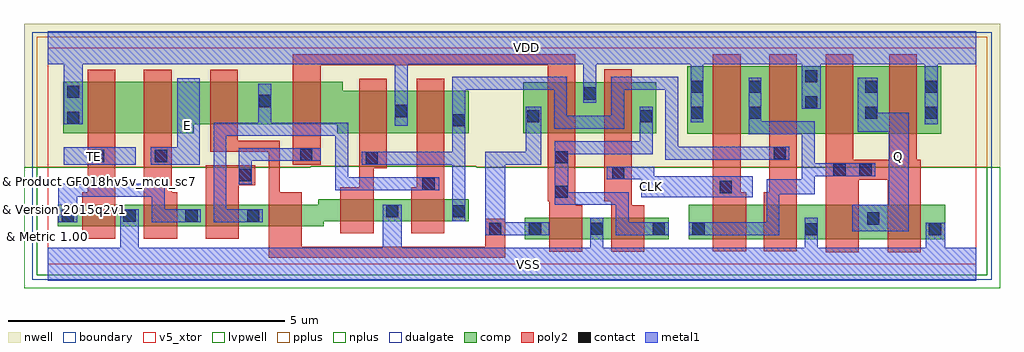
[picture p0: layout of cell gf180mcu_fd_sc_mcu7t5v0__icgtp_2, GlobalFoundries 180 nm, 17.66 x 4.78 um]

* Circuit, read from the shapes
.subckt gf180mcu_fd_sc_mcu7t5v0__icgtp_2 CLK E Q TE VDD VSS
XM1 VSS TE n1 VSUBS nfet_05v0 w=0.395u l=0.6u
XM2 n1 E VSS VSUBS nfet_05v0 w=0.395u l=0.6u
XM3 n2 n3 n1 VSUBS nfet_05v0 w=0.395u l=0.6u
XM4 n4 n5 n2 VSUBS nfet_05v0 w=0.395u l=0.6u
XM5 VSS n6 n4 VSUBS nfet_05v0 w=0.395u l=0.6u
XM6 n6 n2 VSS VSUBS nfet_05v0 w=0.395u l=0.6u
XM7 VSS n3 n5 VSUBS nfet_05v0 w=0.39u l=0.6u
XM8 n3 CLK VSS VSUBS nfet_05v0 w=0.39u l=0.6u
XM9 n7 CLK n8 VSUBS nfet_05v0 w=0.625u l=0.6u
XM10 VSS n6 n7 VSUBS nfet_05v0 w=0.625u l=0.6u
XM11 Q n8 VSS VSUBS nfet_05v0 w=0.625u l=0.6u m=2
XM12 n9 TE VDD n10 pfet_05v0 w=0.925u l=0.5u
XM13 n11 E n9 n10 pfet_05v0 w=0.925u l=0.5u
XM14 n2 n5 n11 n10 pfet_05v0 w=0.765u l=0.5u
XM15 n12 n3 n2 n10 pfet_05v0 w=0.765u l=0.5u
XM16 VDD n6 n12 n10 pfet_05v0 w=0.765u l=0.5u
XM17 n6 n2 VDD n10 pfet_05v0 w=0.765u l=0.5u
XM18 VDD n3 n5 n10 pfet_05v0 w=0.92u l=0.5u
XM19 n3 CLK VDD n10 pfet_05v0 w=0.92u l=0.5u
XM20 n8 CLK VDD n10 pfet_05v0 w=1.22u l=0.5u
XM21 VDD n6 n8 n10 pfet_05v0 w=1.22u l=0.5u
XM22 Q n8 VDD n10 pfet_05v0 w=1.22u l=0.5u m=2
.ends

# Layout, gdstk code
import gdstk
lib = gdstk.Library(unit=1e-6, precision=1e-09)
def R(c, l, rs):  # rectangles x0, y0, x1, y1
    for r in rs: c.add(gdstk.rectangle(r[:2], r[2:], *l))
def A(c, l, x, y, w, h, nx, ny, dx, dy):  # array of equal rectangles
    R(c, l, [(x+i*dx, y+j*dy, x+i*dx+w, y+j*dy+h) for i in range(nx) for j in range(ny)])
def P(c, l, *ps):  # polygons
    for p in ps: c.add(gdstk.Polygon(p, *l))
boundary = (0, 0)
nwell = (21, 0)
comp = (22, 0)
poly2 = (30, 0)
pplus = (31, 0)
nplus = (32, 0)
contact = (33, 0)
metal1 = (34, 0)
dualgate = (55, 0)
v5_xtor = (112, 1)
lvpwell = (204, 0)

gf180mcu_fd_sc_mcu7t5v0_ = lib.new_cell('gf180mcu_fd_sc_mcu7t5v0__icgtp_2')
R(gf180mcu_fd_sc_mcu7t5v0_, boundary, [(0,0,16.8,3.92)])
P(gf180mcu_fd_sc_mcu7t5v0_, nwell, [(-0.43,1.76),(-0.43,4.35),(17.23,4.35),(17.23,1.76),(7.75,1.76),(7.75,1.775),(4.76,1.775),(4.76,1.76)])
R(gf180mcu_fd_sc_mcu7t5v0_, comp, [(8.635,0.455,11.235,0.845), (11.595,0.455,16.235,1.08), (11.57,2.36,16.165,3.58), (8.605,2.375,11.01,3.295)])
P(gf180mcu_fd_sc_mcu7t5v0_, comp, [(0.18,0.685),(0.18,1.08),(4.895,1.08),(4.895,1.175),(7.615,1.175),(7.615,0.78),(4.995,0.78),(4.995,0.685)],
  [(0.28,2.375),(0.28,3.3),(5.335,3.3),(5.335,3.14),(7.615,3.14),(7.615,2.375),(5.235,2.375),(5.235,2.535),(2.64,2.535),(2.64,2.375)])
P(gf180mcu_fd_sc_mcu7t5v0_, poly2, [(0.62,0.46),(0.62,1.3),(0.72,1.3),(0.72,3.52),(1.22,3.52),(1.22,0.46)],
  [(1.74,0.46),(1.74,3.52),(2.24,3.52),(2.24,1.3),(2.34,1.3),(2.34,0.46)],
  [(2.86,0.465),(2.86,1.795),(3.755,1.795),(3.755,1.435),(3.46,1.435),(3.46,0.465)],
  [(5.295,0.56),(5.295,1.395),(5.635,1.395),(5.635,3.36),(6.135,3.36),(6.135,1.74),(5.895,1.74),(5.895,0.56)],
  [(6.575,0.56),(6.575,1.395),(6.675,1.395),(6.675,3.36),(7.175,3.36),(7.175,0.56)],
  [(3.995,0.12),(3.995,2.035),(2.94,2.035),(2.94,3.52),(3.44,3.52),(3.44,2.235),(4.195,2.235),(4.195,1.3),(4.595,1.3),(4.595,0.32),(7.915,0.32),(7.915,0.825),(8.275,0.825),(8.275,0.12)],
  [(9.075,0.23),(9.075,1.145),(9.045,1.145),(9.045,3.6),(4.935,3.6),(4.935,1.805),(4.435,1.805),(4.435,3.8),(9.545,3.8),(9.545,1.07),(9.675,1.07),(9.675,0.23)],
  [(10.195,0.23),(10.195,1.145),(10.07,1.145),(10.07,3.53),(10.57,3.53),(10.57,1.07),(10.795,1.07),(10.795,0.23)],
  [(12.035,0.235),(12.035,3.8),(12.535,3.8),(12.535,1.3),(12.635,1.3),(12.635,0.235)],
  [(12.955,0.235),(12.955,1.3),(13.055,1.3),(13.055,3.8),(13.555,3.8),(13.555,0.235)],
  [(14.075,0.22),(14.075,3.8),(14.575,3.8),(14.575,1.89),(15.225,1.89),(15.225,3.8),(15.725,3.8),(15.725,1.89),(15.795,1.89),(15.795,0.22),(15.195,0.22),(15.195,1.53),(14.675,1.53),(14.675,0.22)])
P(gf180mcu_fd_sc_mcu7t5v0_, pplus, [(-0.2,1.76),(-0.2,4.12),(17,4.12),(17,1.76),(7.75,1.76),(7.75,1.775),(4.76,1.775),(4.76,1.76)])
P(gf180mcu_fd_sc_mcu7t5v0_, nplus, [(-0.2,-0.2),(-0.2,1.76),(4.76,1.76),(4.76,1.775),(7.75,1.775),(7.75,1.76),(17,1.76),(17,-0.2)])
A(gf180mcu_fd_sc_mcu7t5v0_, contact, 8.705, 0.535, 0.22, 0.22, 3, 1, 1.12, 0)
A(gf180mcu_fd_sc_mcu7t5v0_, contact, 0.25, 0.77, 0.22, 0.22, 4, 1, 1.12, 0)
R(gf180mcu_fd_sc_mcu7t5v0_, contact, [(13.705,0.525,13.925,0.745), (15.945,0.525,16.165,0.745), (7.985,0.535,8.205,0.755), (11.665,0.535,11.885,0.755), (14.825,0.72,15.045,0.94), (6.125,0.85,6.345,1.07), (7.325,0.85,7.545,1.07), (9.185,1.205,9.405,1.425), (12.16,1.29,12.38,1.51), (6.78,1.345,7,1.565), (3.465,1.505,3.685,1.725), (10.21,1.54,10.43,1.76), (14.215,1.6,14.435,1.82), (14.685,1.6,14.905,1.82), (5.755,1.81,5.975,2.03), (9.185,1.83,9.405,2.05), (0.8,1.85,1.02,2.07), (1.94,1.85,2.16,2.07), (4.57,1.875,4.79,2.095), (13.135,1.9,13.355,2.12), (7.325,2.495,7.545,2.715), (0.35,2.54,0.57,2.76), (8.675,2.57,8.895,2.79), (10.72,2.57,10.94,2.79), (11.64,2.63,11.86,2.85), (12.685,2.63,12.905,2.85), (14.79,2.63,15.01,2.85), (15.875,2.63,16.095,2.85), (6.285,2.665,6.505,2.885), (13.705,2.82,13.925,3.04), (3.815,2.845,4.035,3.065), (9.695,2.98,9.915,3.2), (0.35,3.01,0.57,3.23), (11.64,3.1,11.86,3.32), (12.685,3.1,12.905,3.32), (14.79,3.1,15.01,3.32), (15.875,3.1,16.095,3.32), (13.705,3.29,13.925,3.51)])
R(gf180mcu_fd_sc_mcu7t5v0_, metal1, [(0.29,1.8,1.59,2.12)])
P(gf180mcu_fd_sc_mcu7t5v0_, metal1, [(1.865,1.8),(1.865,2.12),(2.34,2.12),(2.34,3.37),(2.75,3.37),(2.75,1.8)],
  [(0.19,0.765),(0.19,1.46),(2.115,1.46),(2.115,0.995),(2.77,0.995),(2.77,0.765),(1.885,0.765),(1.885,1.225),(0.53,1.225),(0.53,0.765)],
  [(3.46,1.445),(3.46,2.1),(4.935,2.1),(4.935,1.87),(3.69,1.87),(3.69,1.445)],
  [(3,0.765),(3,2.56),(3.81,2.56),(3.81,3.265),(4.04,3.265),(4.04,2.56),(5.435,2.56),(5.435,1.575),(7.08,1.575),(7.08,1.34),(5.205,1.34),(5.205,2.33),(3.23,2.33),(3.23,0.995),(3.89,0.995),(3.89,0.765)],
  [(7.915,0.53),(7.915,2.035),(8.645,2.035),(8.645,2.85),(8.93,2.85),(8.93,1.805),(8.275,1.805),(8.275,0.76),(9.075,0.76),(9.075,0.53)],
  [(10.28,0.53),(10.28,1.075),(9.175,1.075),(9.175,2.225),(10.715,2.225),(10.715,2.85),(10.945,2.85),(10.945,1.995),(9.415,1.995),(9.415,1.305),(10.51,1.305),(10.51,0.76),(11.235,0.76),(11.235,0.53)],
  [(10.74,1.21),(10.74,1.535),(10.11,1.535),(10.11,1.765),(10.97,1.765),(10.97,1.59),(12.755,1.59),(12.755,1.21)],
  [(7.32,0.78),(7.32,1.805),(5.685,1.805),(5.685,2.035),(7.32,2.035),(7.32,3.39),(9.395,3.39),(9.395,2.69),(10.2,2.69),(10.2,3.39),(11.405,3.39),(11.405,2.125),(13.415,2.125),(13.415,1.895),(11.175,1.895),(11.175,3.16),(10.43,3.16),(10.43,2.455),(9.165,2.455),(9.165,3.16),(7.55,3.16),(7.55,0.78)],
  [(11.595,0.53),(11.595,0.76),(13.01,0.76),(13.01,1.535),(13.645,1.535),(13.645,2.355),(12.68,2.355),(12.68,3.38),(12.91,3.38),(12.91,2.585),(13.875,2.585),(13.875,1.825),(14.97,1.825),(14.97,1.595),(13.875,1.595),(13.875,1.265),(13.24,1.265),(13.24,0.53)],
  [(14.555,0.6),(14.555,1.08),(15.22,1.08),(15.22,2.4),(14.66,2.4),(14.66,3.38),(15.02,3.38),(15.02,2.74),(15.58,2.74),(15.58,0.6)],
  [(0,-0.3),(0,0.3),(1.31,0.3),(1.31,0.995),(1.65,0.995),(1.65,0.3),(6.065,0.3),(6.065,1.075),(6.405,1.075),(6.405,0.3),(9.82,0.3),(9.82,0.845),(10.05,0.845),(10.05,0.3),(13.7,0.3),(13.7,0.845),(13.93,0.845),(13.93,0.3),(15.885,0.3),(15.885,0.75),(16.235,0.75),(16.235,0.3),(16.8,0.3),(16.8,-0.3)],
  [(6.28,2.505),(6.28,3.62),(0.63,3.62),(0.63,2.535),(0.29,2.535),(0.29,3.62),(0,3.62),(0,4.22),(16.8,4.22),(16.8,3.62),(16.1,3.62),(16.1,2.53),(15.87,2.53),(15.87,3.62),(13.985,3.62),(13.985,2.815),(13.645,2.815),(13.645,3.62),(11.865,3.62),(11.865,2.57),(11.635,2.57),(11.635,3.62),(9.92,3.62),(9.92,2.92),(9.69,2.92),(9.69,3.62),(6.51,3.62),(6.51,2.505)])
R(gf180mcu_fd_sc_mcu7t5v0_, dualgate, [(-0.28,-0.28,17.08,4.2)])
R(gf180mcu_fd_sc_mcu7t5v0_, v5_xtor, [(0,0,16.8,3.92)])
P(gf180mcu_fd_sc_mcu7t5v0_, lvpwell, [(-0.43,-0.43),(-0.43,1.76),(4.76,1.76),(4.76,1.775),(7.75,1.775),(7.75,1.76),(17.23,1.76),(17.23,-0.43)])
gf180mcu_fd_sc_mcu7t5v0_.add(gdstk.Label('Q', (15.4,1.96), layer=34, texttype=10))
gf180mcu_fd_sc_mcu7t5v0_.add(gdstk.Label('TE', (0.84,1.96), layer=34, texttype=10))
gf180mcu_fd_sc_mcu7t5v0_.add(gdstk.Label('VDD', (8.655,3.915), layer=34, texttype=10))
gf180mcu_fd_sc_mcu7t5v0_.add(gdstk.Label('VSS', (8.7,0.005), layer=34, texttype=10))
gf180mcu_fd_sc_mcu7t5v0_.add(gdstk.Label('CLK', (10.92,1.4), layer=34, texttype=10))
gf180mcu_fd_sc_mcu7t5v0_.add(gdstk.Label('E', (2.52,2.52), layer=34, texttype=10))
gf180mcu_fd_sc_mcu7t5v0_.add(gdstk.Label('& Vendor GLOBALFOUNDRIES', (0,2), layer=63, texttype=63))
gf180mcu_fd_sc_mcu7t5v0_.add(gdstk.Label('& Product GF018hv5v_mcu_sc7', (0,1.5), layer=63, texttype=63))
gf180mcu_fd_sc_mcu7t5v0_.add(gdstk.Label('& Version 2015q2v1', (0,1), layer=63, texttype=63))
gf180mcu_fd_sc_mcu7t5v0_.add(gdstk.Label('& Metric 1.00', (0,0.5), layer=63, texttype=63))

lib.write_gds('gf180mcu_fd_sc_mcu7t5v0__icgtp_2.gds')
